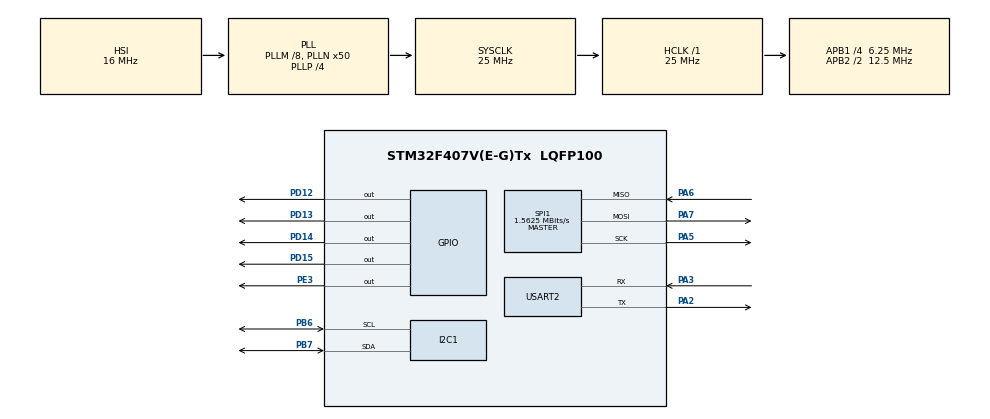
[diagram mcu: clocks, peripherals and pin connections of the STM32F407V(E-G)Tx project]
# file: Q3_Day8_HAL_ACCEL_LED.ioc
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Mcu.Family=STM32F4
Mcu.Name=STM32F407V(E-G)Tx
Mcu.Package=LQFP100
NVIC.PriorityGroup=NVIC_PRIORITYGROUP_0
PA2.Mode=Asynchronous
PA2.Signal=USART2_TX
PA3.Mode=Asynchronous
PA3.Signal=USART2_RX
PA5.Mode=Full_Duplex_Master
PA5.Signal=SPI1_SCK
PA6.Mode=Full_Duplex_Master
PA6.Signal=SPI1_MISO
PA7.Mode=Full_Duplex_Master
PA7.Signal=SPI1_MOSI
PB6.Mode=I2C
PB6.Signal=I2C1_SCL
PB7.Mode=I2C
PB7.Signal=I2C1_SDA
PD12.Signal=GPIO_Output
PD13.Signal=GPIO_Output
PD14.Signal=GPIO_Output
PD15.Signal=GPIO_Output
PE3.Signal=GPIO_Output
ProjectManager.HeapSize=0x200
ProjectManager.StackSize=0x400
ProjectManager.TargetToolchain=STM32CubeIDE
RCC.48MHZClocksFreq_Value=14285714.285714285
RCC.AHBFreq_Value=25000000
RCC.APB1CLKDivider=RCC_HCLK_DIV4
RCC.APB1Freq_Value=6250000
RCC.APB1TimFreq_Value=12500000
RCC.APB2CLKDivider=RCC_HCLK_DIV2
RCC.APB2Freq_Value=12500000
RCC.APB2TimFreq_Value=25000000
RCC.CortexFreq_Value=25000000
RCC.HCLKFreq_Value=25000000
RCC.HSE_VALUE=8000000
RCC.HSI_VALUE=16000000
RCC.LSE_VALUE=32768
RCC.PLLM=8
RCC.PLLN=50
RCC.PLLP=RCC_PLLP_DIV4
RCC.PLLQ=7
RCC.SYSCLKFreq_VALUE=25000000
RCC.SYSCLKSource=RCC_SYSCLKSOURCE_PLLCLK
RCC.VCOOutputFreq_Value=100000000
SPI1.BaudRatePrescaler=SPI_BAUDRATEPRESCALER_8
SPI1.CalculateBaudRate=1.5625 MBits/s
SPI1.Direction=SPI_DIRECTION_2LINES
SPI1.Mode=SPI_MODE_MASTER
SPI1.VirtualType=VM_MASTER
USART2.VirtualMode=VM_ASYNC
board=STM32F407G-DISC1

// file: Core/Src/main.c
/* USER CODE BEGIN Header */
/**
  ******************************************************************************
  * @file           : main.c
  * @brief          : Main program body
  ******************************************************************************
  * @attention
  *
  * Copyright (c) 2026 STMicroelectronics.
  * All rights reserved.
  *
  * This software is licensed under terms that can be found in the LICENSE file
  * in the root directory of this software component.
  * If no LICENSE file comes with this software, it is provided AS-IS.
  *
  ******************************************************************************
  */
/* USER CODE END Header */
#include "main.h"
#include<lis3dsh.h>
#include<stdio.h>
#include<string.h>
#include<lcd.h>

I2C_HandleTypeDef hi2c1;

SPI_HandleTypeDef hspi1;

UART_HandleTypeDef huart2;

void SystemClock_Config(void);
static void MX_GPIO_Init(void);
static void MX_SPI1_Init(void);
static void MX_USART2_UART_Init(void);
static void MX_I2C1_Init(void);
/* USER CODE BEGIN PFP */
void UART_Gets(char str[]) {
	char ch;
	for(int i=0; i<32; i++) {
		HAL_UART_Receive(&huart2, (uint8_t*)&ch, 1, HAL_MAX_DELAY);
		str[i] = ch;
		   if (ch == '\r' || ch == '\n') {
		            str[i] = '\0';   // end string properly
		            break;
		        }
	}
}
/* USER CODE END PFP */

int main(void)
{

  /* MCU Configuration--------------------------------------------------------*/

  /* Reset of all peripherals, Initializes the Flash interface and the Systick. */
  HAL_Init();

  /* Configure the system clock */
  SystemClock_Config();

  /* Initialize all configured peripherals */
  MX_GPIO_Init();
  MX_SPI1_Init();
  MX_USART2_UART_Init();
  MX_I2C1_Init();
  /* USER CODE BEGIN 2 */
  accel_init();
  //lcd_init();
  char msg[64];
  /* USER CODE END 2 */

  /* Infinite loop */
  /* USER CODE BEGIN WHILE */
  while (1)
  {

	   HAL_GPIO_WritePin(GPIOD, GPIO_PIN_12, GPIO_PIN_RESET);
           HAL_GPIO_WritePin(GPIOD, GPIO_PIN_13, GPIO_PIN_RESET);
           HAL_GPIO_WritePin(GPIOD, GPIO_PIN_14, GPIO_PIN_RESET);
           HAL_GPIO_WritePin(GPIOD, GPIO_PIN_15, GPIO_PIN_RESET);

           AccelRead_t data1 = accel_get_xyz();
           if(data1.x < -3000)  HAL_GPIO_WritePin(GPIOD, GPIO_PIN_12, GPIO_PIN_SET);

           if(data1.x > 3000)  HAL_GPIO_WritePin(GPIOD, GPIO_PIN_14, GPIO_PIN_SET);

           if(data1.y < -3000)  HAL_GPIO_WritePin(GPIOD, GPIO_PIN_15, GPIO_PIN_SET);

           if(data1.y > 3000)  HAL_GPIO_WritePin(GPIOD, GPIO_PIN_13, GPIO_PIN_SET);

           sprintf(msg, "X: %5d Y: %5d Z: %5d\r\n", data1.x, data1.y, data1.z);
          // lcd_puts(LCD_LINE1,msg);
           HAL_UART_Transmit(&huart2, (uint8_t*)msg, strlen(msg), HAL_MAX_DELAY);
           HAL_Delay(1000);

    /* USER CODE END WHILE */

  }
}

void SystemClock_Config(void)
{
  RCC_OscInitTypeDef RCC_OscInitStruct = {0};
  RCC_ClkInitTypeDef RCC_ClkInitStruct = {0};

  /** Configure the main internal regulator output voltage
  */
  __HAL_RCC_PWR_CLK_ENABLE();
  __HAL_PWR_VOLTAGESCALING_CONFIG(PWR_REGULATOR_VOLTAGE_SCALE1);

  /** Initializes the RCC Oscillators according to the specified parameters
  * in the RCC_OscInitTypeDef structure.
  */
  RCC_OscInitStruct.OscillatorType = RCC_OSCILLATORTYPE_HSI;
  RCC_OscInitStruct.HSIState = RCC_HSI_ON;
  RCC_OscInitStruct.HSICalibrationValue = RCC_HSICALIBRATION_DEFAULT;
  RCC_OscInitStruct.PLL.PLLState = RCC_PLL_ON;
  RCC_OscInitStruct.PLL.PLLSource = RCC_PLLSOURCE_HSI;
  RCC_OscInitStruct.PLL.PLLM = 8;
  RCC_OscInitStruct.PLL.PLLN = 50;
  RCC_OscInitStruct.PLL.PLLP = RCC_PLLP_DIV4;
  RCC_OscInitStruct.PLL.PLLQ = 7;
  if (HAL_RCC_OscConfig(&RCC_OscInitStruct) != HAL_OK)
  {
    Error_Handler();
  }

  /** Initializes the CPU, AHB and APB buses clocks
  */
  RCC_ClkInitStruct.ClockType = RCC_CLOCKTYPE_HCLK|RCC_CLOCKTYPE_SYSCLK
                              |RCC_CLOCKTYPE_PCLK1|RCC_CLOCKTYPE_PCLK2;
  RCC_ClkInitStruct.SYSCLKSource = RCC_SYSCLKSOURCE_PLLCLK;
  RCC_ClkInitStruct.AHBCLKDivider = RCC_SYSCLK_DIV1;
  RCC_ClkInitStruct.APB1CLKDivider = RCC_HCLK_DIV4;
  RCC_ClkInitStruct.APB2CLKDivider = RCC_HCLK_DIV2;

  if (HAL_RCC_ClockConfig(&RCC_ClkInitStruct, FLASH_LATENCY_0) != HAL_OK)
  {
    Error_Handler();
  }
}

static void MX_I2C1_Init(void)
{

  hi2c1.Instance = I2C1;
  hi2c1.Init.ClockSpeed = 100000;
  hi2c1.Init.DutyCycle = I2C_DUTYCYCLE_2;
  hi2c1.Init.OwnAddress1 = 0;
  hi2c1.Init.AddressingMode = I2C_ADDRESSINGMODE_7BIT;
  hi2c1.Init.DualAddressMode = I2C_DUALADDRESS_DISABLE;
  hi2c1.Init.OwnAddress2 = 0;
  hi2c1.Init.GeneralCallMode = I2C_GENERALCALL_DISABLE;
  hi2c1.Init.NoStretchMode = I2C_NOSTRETCH_DISABLE;
  if (HAL_I2C_Init(&hi2c1) != HAL_OK)
  {
    Error_Handler();
  }

}

static void MX_SPI1_Init(void)
{

  /* SPI1 parameter configuration*/
  hspi1.Instance = SPI1;
  hspi1.Init.Mode = SPI_MODE_MASTER;
  hspi1.Init.Direction = SPI_DIRECTION_2LINES;
  hspi1.Init.DataSize = SPI_DATASIZE_8BIT;
  hspi1.Init.CLKPolarity = SPI_POLARITY_LOW;
  hspi1.Init.CLKPhase = SPI_PHASE_1EDGE;
  hspi1.Init.NSS = SPI_NSS_SOFT;
  hspi1.Init.BaudRatePrescaler = SPI_BAUDRATEPRESCALER_8;
  hspi1.Init.FirstBit = SPI_FIRSTBIT_MSB;
  hspi1.Init.TIMode = SPI_TIMODE_DISABLE;
  hspi1.Init.CRCCalculation = SPI_CRCCALCULATION_DISABLE;
  hspi1.Init.CRCPolynomial = 10;
  if (HAL_SPI_Init(&hspi1) != HAL_OK)
  {
    Error_Handler();
  }

}

static void MX_USART2_UART_Init(void)
{

  huart2.Instance = USART2;
  huart2.Init.BaudRate = 115200;
  huart2.Init.WordLength = UART_WORDLENGTH_8B;
  huart2.Init.StopBits = UART_STOPBITS_1;
  huart2.Init.Parity = UART_PARITY_NONE;
  huart2.Init.Mode = UART_MODE_TX_RX;
  huart2.Init.HwFlowCtl = UART_HWCONTROL_NONE;
  huart2.Init.OverSampling = UART_OVERSAMPLING_16;
  if (HAL_UART_Init(&huart2) != HAL_OK)
  {
    Error_Handler();
  }

}

static void MX_GPIO_Init(void)
{
  GPIO_InitTypeDef GPIO_InitStruct = {0};

  /* GPIO Ports Clock Enable */
  __HAL_RCC_GPIOE_CLK_ENABLE();
  __HAL_RCC_GPIOA_CLK_ENABLE();
  __HAL_RCC_GPIOD_CLK_ENABLE();
  __HAL_RCC_GPIOB_CLK_ENABLE();

  /*Configure GPIO pin Output Level */
  HAL_GPIO_WritePin(GPIOE, GPIO_PIN_3, GPIO_PIN_RESET);

  /*Configure GPIO pin Output Level */
  HAL_GPIO_WritePin(GPIOD, GPIO_PIN_12|GPIO_PIN_13|GPIO_PIN_14|GPIO_PIN_15, GPIO_PIN_RESET);

  /*Configure GPIO pin : PE3 */
  GPIO_InitStruct.Pin = GPIO_PIN_3;
  GPIO_InitStruct.Mode = GPIO_MODE_OUTPUT_PP;
  GPIO_InitStruct.Pull = GPIO_NOPULL;
  GPIO_InitStruct.Speed = GPIO_SPEED_FREQ_LOW;
  HAL_GPIO_Init(GPIOE, &GPIO_InitStruct);

  /*Configure GPIO pins : PD12 PD13 PD14 PD15 */
  GPIO_InitStruct.Pin = GPIO_PIN_12|GPIO_PIN_13|GPIO_PIN_14|GPIO_PIN_15;
  GPIO_InitStruct.Mode = GPIO_MODE_OUTPUT_PP;
  GPIO_InitStruct.Pull = GPIO_NOPULL;
  GPIO_InitStruct.Speed = GPIO_SPEED_FREQ_LOW;
  HAL_GPIO_Init(GPIOD, &GPIO_InitStruct);

}

void Error_Handler(void)
{
  __disable_irq();
  while (1)
  {
  }
}
